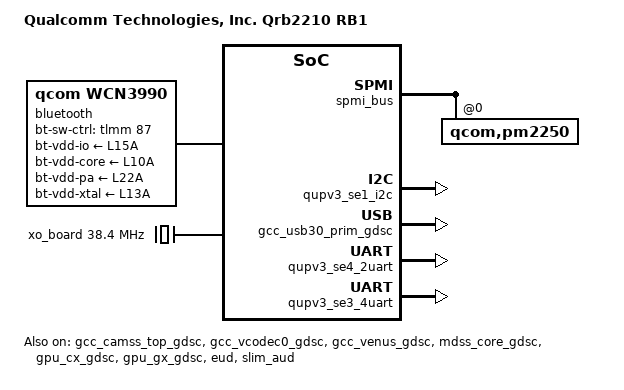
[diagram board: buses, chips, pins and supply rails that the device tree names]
#include <dt-bindings/sound/qcom,gpr.h>
#include <dt-bindings/interconnect/qcom,icc.h>
#include <dt-bindings/interconnect/qcom,scuba.h>
#include <dt-bindings/interrupt-controller/arm-gic.h>
#include <dt-bindings/gpio/gpio.h>
#include <dt-bindings/spmi/spmi.h>
#include <dt-bindings/regulator/qcom,rpmh-regulator-levels.h>
#include <dt-bindings/clock/qcom,gcc-scuba.h>
#include <dt-bindings/clock/qcom,gpucc-scuba.h>
#include <dt-bindings/clock/qcom,dispcc-scuba.h>
#include <dt-bindings/clock/qcom,rpmcc.h>

/ {
	model = "Qualcomm Technologies, Inc. Qrb2210 RB1";
	compatible = "qcom,scuba-idp", "qcom,scuba", "qcom,idp";
	qcom,msm-id = <473 0x0>;
	qcom,board-id = <34 0>;

	#address-cells = <2>;
	#size-cells = <2>;
	interrupt-parent = <&intc>;

	memory { device_type = "memory"; reg = <0 0 0 0>; };

	mem-offline {
		compatible = "qcom,mem-offline";
		offline-sizes = <0x1 0x40000000 0x0 0x40000000>,
				<0x1 0xc0000000 0x0 0x80000000>,
				<0x2 0xc0000000 0x1 0x40000000>;
		granule = <512>;
	};

	aliases {
		serial0 = &qupv3_se4_2uart;
		hsuart0 = &qupv3_se3_4uart;
		sdhc1 = &sdhc_1; /*SDC1 eMMC slot*/
		sdhc2 = &sdhc_2; /* SDC2 SD card slot */
	};

	cpus {
		#address-cells = <2>;
		#size-cells = <0>;

		CPU0: cpu@0 {
			device_type = "cpu";
			compatible = "arm,armv8";
			reg = <0x0 0x0>;
			enable-method = "psci";
			capacity-dmips-mhz = <1024>;
			dynamic-power-coefficient = <100>;
			next-level-cache = <&L2_0>;
			qcom,freq-domain = <&cpufreq_hw 0 4>;
			L2_0: l2-cache {
				compatible = "arm,arch-cache";
				cache-level = <2>;
			};

			L1_I_0: l1-icache {
				compatible = "arm,arch-cache";
			};

			L1_D_0: l1-dcache {
				compatible = "arm,arch-cache";
			};
		};

		CPU1: cpu@1 {
			device_type = "cpu";
			compatible = "arm,armv8";
			reg = <0x0 0x1>;
			enable-method = "psci";
			capacity-dmips-mhz = <1024>;
			dynamic-power-coefficient = <100>;
			next-level-cache = <&L2_0>;
			qcom,freq-domain = <&cpufreq_hw 0 4>;

			L1_I_1: l1-icache {
				compatible = "arm,arch-cache";
			};

			L1_D_1: l1-dcache {
				compatible = "arm,arch-cache";
			};
		};

		CPU2: cpu@2 {
			device_type = "cpu";
			compatible = "arm,armv8";
			reg = <0x0 0x2>;
			enable-method = "psci";
			capacity-dmips-mhz = <1024>;
			dynamic-power-coefficient = <100>;
			next-level-cache = <&L2_0>;
			qcom,freq-domain = <&cpufreq_hw 0 4>;

			L1_I_2: l1-icache {
				compatible = "arm,arch-cache";
			};

			L1_D_2: l1-dcache {
				compatible = "arm,arch-cache";
			};
		};

		CPU3: cpu@3 {
			device_type = "cpu";
			compatible = "arm,armv8";
			reg = <0x0 0x3>;
			enable-method = "psci";
			capacity-dmips-mhz = <1024>;
			dynamic-power-coefficient = <100>;
			next-level-cache = <&L2_0>;
			qcom,freq-domain = <&cpufreq_hw 0 4>;

			L1_I_3: l1-icache {
				compatible = "arm,arch-cache";
			};

			L1_D_3: l1-dcache {
				compatible = "arm,arch-cache";
			};
		};

		cpu-map {
			cluster0 {
				core0 {
					cpu = <&CPU0>;
				};

				core1 {
					cpu = <&CPU1>;
				};

				core2 {
					cpu = <&CPU2>;
				};

				core3 {
					cpu = <&CPU3>;
				};
			};
		};
	};

	psci {
		compatible = "arm,psci-1.0";
		method = "smc";
	};

	firmware: firmware {
		android {
			compatible = "android,firmware";
			vbmeta {
				compatible="android,vbmeta";
				parts = "vbmeta,boot,system,vendor,dtbo,recovery";
			};

			fstab {
				compatible = "android,fstab";
				vendor {
					compatible = "android,vendor";
					dev =
			"/dev/block/platform/soc/4744000.sdhci/by-name/vendor";
					type = "ext4";
					mnt_flags = "ro,barrier=1,discard";
					fsmgr_flags = "wait,slotselect,avb";
					status = "ok";
				};
			};
		};
	};

	reserved-memory {
		#address-cells = <2>;
		#size-cells = <2>;
		ranges;

		hyp_region: hyp_region@45700000 {
			no-map;
			reg = <0x0 0x45700000 0x0 0x600000>;
		};

		xbl_aop_mem: xbl_aop_mem@45e00000 {
			no-map;
			reg = <0x0 0x45e00000 0x0 0x100000>;
		};

		sec_apps_mem: sec_apps_region@45fff000 {
			no-map;
			reg = <0x0 0x45fff000 0x0 0x1000>;
		};

		smem_region: smem@46000000 {
			no-map;
			reg = <0x0 0x46000000 0x0 0x200000>;
		};

		pil_modem_mem: modem_region@4ab00000 {
			no-map;
			reg = <0x0 0x4ab00000 0x0 0x6900000>;
		};

		pil_video_mem: pil_video_region@51400000 {
			no-map;
			reg = <0x0 0x51400000 0x0 0x500000>;
		};

		wlan_msa_mem: wlan_msa_region@51900000 {
			no-map;
			reg = <0x0 0x51900000 0x0 0x100000>;
		};

		pil_adsp_mem: adsp_regions@51a00000 {
			no-map;
			reg = <0x0 0x51a00000 0x0 0x1c00000>;
		};

		pil_ipa_fw_mem: ips_fw_region@53600000 {
			no-map;
			reg = <0x0 0x53600000 0x0 0x10000>;
		};

		pil_ipa_gsi_mem: ipa_gsi_region@53610000 {
			no-map;
			reg = <0x0 0x53610000 0x0 0x5000>;
		};

		pil_gpu_mem: gpu_region@53615000 {
			no-map;
			reg = <0x0 0x53615000 0x0 0x2000>;
		};

		removed_region: removed_region@60000000 {
			no-map;
			reg = <0x0 0x60000000 0x0 0x3900000>;
		};

		adsp_mem: adsp_region {
			compatible = "shared-dma-pool";
			alloc-ranges = <0 0x00000000 0 0xffffffff>;
			reusable;
			alignment = <0 0x400000>;
			size = <0 0x800000>;
		};

		dump_mem: mem_dump_region {
			compatible = "shared-dma-pool";
			alloc-ranges = <0x0 0x00000000 0x0 0xffffffff>;
			reusable;
			size = <0 0x800000>;
		};

		secure_display_memory: secure_display_region {
			compatible = "shared-dma-pool";
			alloc-ranges = <0 0x00000000 0 0xffffffff>;
			reusable;
			alignment = <0 0x400000>;
			size = <0 0x5c00000>;
		};

		cont_splash_memory: cont_splash_region@5c000000 {
			reg = <0x0 0x5c000000 0x0 0x00f00000>;
			label = "cont_splash_region";
		};

		dfps_data_memory: dfps_data_region@5cf00000 {
			reg = <0x0 0x5cf00000 0x0 0x0100000>;
			label = "dfps_data_region";
		};

		disp_rdump_memory: disp_rdump_region@5c000000 {
			reg = <0x0 0x5c000000 0x0 0x00f00000>;
			label = "disp_rdump_region";
		};

		qseecom_mem: qseecom_region {
			compatible = "shared-dma-pool";
			alloc-ranges = <0x0 0x00000000 0x0 0xffffffff>;
			reusable;
			alignment = <0x0 0x400000>;
			size = <0x0 0x1400000>;
		};

		qseecom_ta_mem: qseecom_ta_region {
			compatible = "shared-dma-pool";
			alloc-ranges = <0x0 0x00000000 0x0 0xffffffff>;
			reusable;
			alignment = <0x0 0x400000>;
			size = <0x0 0x1000000>;
		};

		memshare_mem: memshare_region {
			compatible = "shared-dma-pool";
			no-map;
			alloc-ranges = <0x0 0x00000000 0x0 0xffffffff>;
			alignment = <0x0 0x100000>;
			size = <0x0 0x800000>;
		};

		/* global autoconfigured region for contiguous allocations */
		linux,cma {
			compatible = "shared-dma-pool";
			alloc-ranges = <0x0 0x00000000 0x0 0xffffffff>;
			reusable;
			alignment = <0x0 0x400000>;
			size = <0x0 0x2000000>;
			linux,cma-default;
		};
	};

	chosen {
		bootargs = "rcupdate.rcu_expedited=1 rcu_nocbs=0-7";
	};

	soc: soc { };
};

&soc {
	#address-cells = <1>;
	#size-cells = <1>;
	ranges = <0 0 0 0xffffffff>;
	compatible = "simple-bus";

	intc: interrupt-controller@f200000 {
		compatible = "arm,gic-v3";
		#interrupt-cells = <3>;
		interrupt-controller;
		interrupt-parent = <&intc>;
		#redistributor-regions = <1>;
		redistributor-stride = <0x0 0x20000>;
		reg = <0xf200000 0x10000>,     /* GICD */
		      <0xf300000 0x100000>;    /* GICR * 8 */
		interrupts = <1 9 4>;
	};

	wakegic: wake-gic {
		compatible = "qcom,mpm-gic-scuba", "qcom,mpm";
		interrupts = <GIC_SPI 197 IRQ_TYPE_EDGE_RISING>;
		reg = <0x45f01b8 0x1000>,
			<0x0f40000c 0x4>;  /* MSM_APCS_GCC_BASE 4K */
		reg-names = "vmpm", "ipc";
		qcom,num-mpm-irqs = <96>;
		interrupt-controller;
		interrupt-parent = <&intc>;
		#interrupt-cells = <2>;
	};

	bluetooth: bt_wcn3990 {
		compatible = "qcom,wcn3990";
		qcom,bt-sw-ctrl-gpio = <&tlmm 87 0>; /* SW_CTRL */
		qcom,bt-vdd-io-supply =   <&L15A>;  /* IO */
		qcom,bt-vdd-core-supply = <&L10A>; /* RFA */
		qcom,bt-vdd-pa-supply =   <&L22A>; /* CH0 */
		qcom,bt-vdd-xtal-supply = <&L13A>; /* XO */

		qcom,bt-vdd-io-config = <1700000 1900000 1 0>;
		qcom,bt-vdd-core-config = <1304000 1304000 1 0>;
		qcom,bt-vdd-pa-config = <3000000 3312000 1 0>;
		qcom,bt-vdd-xtal-config = <1700000 1900000 1 0>;
	};

	timer {
		compatible = "arm,armv8-timer";
		interrupts = <1 1 0xf08>,
			     <1 2 0xf08>,
			     <1 3 0xf08>,
			     <1 0 0xf08>;
		clock-frequency = <19200000>;
	};


	timer@f120000 {
		#address-cells = <1>;
		#size-cells = <1>;
		ranges;
		compatible = "arm,armv7-timer-mem";
		reg = <0xf120000 0x1000>;
		clock-frequency = <19200000>;

		frame@f121000 {
			frame-number = <0>;
			interrupts = <0 8 0x4>,
				     <0 7 0x4>;
			reg = <0xf121000 0x1000>,
			      <0xf122000 0x1000>;
		};

		frame@f123000 {
			frame-number = <1>;
			interrupts = <0 9 0x4>;
			reg = <0xf123000 0x1000>;
			status = "disabled";
		};

		frame@f124000 {
			frame-number = <2>;
			interrupts = <0 10 0x4>;
			reg = <0xf124000 0x1000>;
			status = "disabled";
		};

		frame@f125000 {
			frame-number = <3>;
			interrupts = <0 11 0x4>;
			reg = <0xf125000 0x1000>;
			status = "disabled";
		};

		frame@f126000 {
			frame-number = <4>;
			interrupts = <0 12 0x4>;
			reg = <0xf126000 0x1000>;
			status = "disabled";
		};

		frame@f127000 {
			frame-number = <5>;
			interrupts = <0 13 0x4>;
			reg = <0xf127000 0x1000>;
			status = "disabled";
		};

		frame@f128000 {
			frame-number = <6>;
			interrupts = <0 14 0x4>;
			reg = <0xf128000 0x1000>;
			status = "disabled";
		};
	};

	qcom,msm-imem@c125000 {
		compatible = "qcom,msm-imem";
		reg = <0xc125000 0x1000>;
		ranges = <0x0 0xc125000 0x1000>;
		#address-cells = <1>;
		#size-cells = <1>;

		mem_dump_table@10 {
			compatible = "qcom,msm-imem-mem_dump_table";
			reg = <0x10 0x8>;
		};

		restart_reason@65c {
			compatible = "qcom,msm-imem-restart_reason";
			reg = <0x65c 0x4>;
		};

		dload_type@1c {
			compatible = "qcom,msm-imem-dload-type";
			reg = <0x1c 0x4>;
		};

		boot_stats@6b0 {
			compatible = "qcom,msm-imem-boot_stats";
			reg = <0x6b0 0x20>;
		};

		kaslr_offset@6d0 {
			compatible = "qcom,msm-imem-kaslr_offset";
			reg = <0x6d0 0xc>;
		};

		pil@94c {
			compatible = "qcom,msm-imem-pil";
			reg = <0x94c 0xc8>;
		};

		diag_dload@c8 {
			compatible = "qcom,msm-imem-diag-dload";
			reg = <0xc8 0xc8>;
		};
	};

	restart@440b000 {
		compatible = "qcom,pshold";
		reg = <0x440b000 0x4>,
		      <0x03d3000 0x4>;
		reg-names = "pshold-base", "tcsr-boot-misc-detect";
		status="disabled";
	};

	qcom,mpm2-sleep-counter@4403000 {
		compatible = "qcom,mpm2-sleep-counter";
		reg = <0x4403000 0x1000>;
		clock-frequency = <32768>;
		status="disabled";
	};

	qcom,msm-rtb {
		compatible = "qcom,msm-rtb";
		qcom,rtb-size = <0x100000>;
		status="disabled";
	};

	qcom,chd_silver {
		compatible = "qcom,core-hang-detect";
		label = "silver";
		qcom,threshold-arr = <0x0f1880b0 0x0f1980b0
				      0x0f1a80b0 0x0f1b80b0>;
		qcom,config-arr = <0x0f1880b8 0x0f1980b8
				   0x0f1a80b8 0x0f1b80b8>;

		status="disabled";
	};

	qcom,rmtfs_sharedmem@0 {
		compatible = "qcom,sharedmem-uio";
		reg = <0x0 0x280000>;
		reg-names = "rmtfs";
		qcom,client-id = <0x00000001>;
		qcom,vm-nav-path;
	};

	thermal_zones: thermal-zones { };

	sdhc_1: sdhci@4744000 {
		compatible = "qcom,sdhci-msm-v5";
		reg = <0x04744000 0x1000>, <0x04745000 0x1000>;
		reg-names = "hc_mem", "cqhci_mem";

		iommus = <&apps_smmu 0xC0 0x0>;
		qcom,iommu-dma = "bypass";

		interrupts = <GIC_SPI 348 IRQ_TYPE_LEVEL_HIGH>,
			<GIC_SPI 352 IRQ_TYPE_LEVEL_HIGH>;
		interrupt-names = "hc_irq", "pwr_irq";

		clocks = <&gcc GCC_SDCC1_APPS_CLK>,
			<&gcc GCC_SDCC1_AHB_CLK>,
			<&gcc GCC_SDCC1_ICE_CORE_CLK>;
		clock-names = "core", "iface", "ice_core";

		qcom,ice-clk-rates = <300000000 100000000>;

		interconnects = <&system_noc MASTER_SDCC_1 &bimc SLAVE_EBI_CH0>,
			<&bimc MASTER_AMPSS_M0 &config_noc SLAVE_SDCC_1>;
		interconnect-names = "sdhc-ddr","cpu-sdhc";
		qcom,msm-bus,name = "sdhc1";
		qcom,msm-bus,num-cases = <9>;
		qcom,msm-bus,num-paths = <2>;
		qcom,msm-bus,vectors-KBps =
			/* No vote */
			<78 512 0 0>, <1 606 0 0>,
			/* 400 KB/s*/
			<78 512 1046 1600>,
			<1 606 1600 1600>,
			/* 20 MB/s */
			<78 512 20480 80000>,
			<1 606 80000 80000>,
			/* 25 MB/s */
			<78 512 25600 250000>,
			<1 606 50000 133320>,
			/* 50 MB/s */
			<78 512 51200 250000>,
			<1 606 65000 133320>,
			/* 100 MB/s */
			<78 512 102400 250000>,
			<1 606 65000 133320>,
			/* 200 MB/s */
			<78 512 204800 800000>,
			<1 606 200000 300000>,
			/* 400 MB/s */
			<78 512 204800 800000>,
			<1 606 200000 300000>,
			/* Max. bandwidth */
			<78 512 1338562 4096000>,
			<1 606 1338562 4096000>;
		qcom,bus-bw-vectors-bps = <0 400000 20000000 25000000 50000000
			100750000 200000000 400000000 4294967295>;

		/* DLL HSR settings. Refer go/hsr - <Target> DLL settings */
		qcom,dll-hsr-list = <0x000f642c 0x0 0x0 0x00010800 0x80040868>;

		mmc-ddr-1_8v;
		mmc-hs200-1_8v;
		mmc-hs400-1_8v;
		mmc-hs400-enhanced-strobe;

		bus-width = <8>;
		non-removable;
		supports-cqe;

		no-sd;
		no-sdio;
		max-frequency = <192000000>;

		qcom,devfreq,freq-table = <50000000 200000000>;
		qcom,scaling-lower-bus-speed-mode = "DDR52";

		status = "disabled";

		qos0 {
			mask = <0x0f>;
			vote = <43>;
		};
	};

	sdhc_2: sdhci@4784000 {
		compatible = "qcom,sdhci-msm-v5";
		reg = <0x4784000 0x1000>;
		reg-names = "hc_mem";

		interrupts = <GIC_SPI 350 IRQ_TYPE_LEVEL_HIGH>,
			<GIC_SPI 353 IRQ_TYPE_LEVEL_HIGH>;
		interrupt-names = "hc_irq", "pwr_irq";

		clocks = <&gcc GCC_SDCC2_AHB_CLK>,
			<&gcc GCC_SDCC2_APPS_CLK>;
		clock-names = "core", "iface";

		interconnects = <&system_noc MASTER_SDCC_2 &bimc SLAVE_EBI_CH0>,
			<&bimc MASTER_AMPSS_M0 &config_noc SLAVE_SDCC_2>;
		interconnect-names = "sdhc-ddr","cpu-sdhc";
		qcom,msm-bus,name = "sdhc2";
		qcom,msm-bus,num-cases = <8>;
		qcom,msm-bus,num-paths = <2>;
		qcom,msm-bus,vectors-KBps =
			/* No vote */
			<81 512 0 0>, <1 608 0 0>,
			/* 400 KB/s*/
			<81 512 1046 3200>,
			<1 608 1600 1600>,
			/* 20 MB/s */
			<81 512 52286 250000>,
			<1 608 80000 133320>,
			/* 25 MB/s */
			<81 512 65360 250000>,
			<1 608 100000 133320>,
			/* 50 MB/s */
			<81 512 130718 250000>,
			<1 608 133320 133320>,
			/* 100 MB/s */
			<81 512 261438 250000>,
			<1 608 150000 133320>,
			/* 200 MB/s */
			<81 512 261438 800000>,
			<1 608 300000 300000>,
			/* Max. bandwidth */
			<81 512 1338562 4096000>,
			<1 608 1338562 4096000>;
		qcom,bus-bw-vectors-bps = <0 400000 20000000 25000000 50000000
			100750000 200000000 4294967295>;

		/* DLL HSR settings. Refer go/hsr - <Target> DLL settings */
		qcom,dll-hsr-list = <0x0007642c 0x0 0x0 0x00010800 0x80040868>;

		bus-width = <4>;

		iommus = <&apps_smmu 0xA0 0x0>;
		qcom,iommu-dma = "bypass";

		no-mmc;
		no-sdio;
		max-frequency = <202000000>;

		qcom,devfreq,freq-table = <50000000 202000000>;

		status = "disabled";

		qos0 {
			mask = <0x0f>;
			vote = <43>;
		};
	};

	qfprom: qfprom@1b40000 {
		compatible = "qcom,qfprom";
		reg = <0x1b40000 0x7000>;
		#address-cells = <1>;
		#size-cells = <1>;
		read-only;
		ranges;
		status="disabled";
		feat_conf5: feat_conf5@6018 {
			reg = <0x6018 0x4>;
		};

		adsp_variant: adsp_variant@6011 {
			reg = <0x6011 0x1>;
			bits = <3 1>;
		};

	};

	eud: qcom,msm-eud@1610000 {
		compatible = "qcom,msm-eud";
		interrupt-names = "eud_irq";
		interrupts = <GIC_SPI 189 IRQ_TYPE_LEVEL_HIGH>;
		reg = <0x1610000 0x2000>,
		      <0x1612000 0x1000>,
		      <0x3E5018 0x4>;
		reg-names = "eud_base", "eud_mode_mgr2",
				"eud_tcsr_check_reg";
		qcom,secure-eud-en;
		qcom,eud-tcsr-check-enable;
		qcom,eud-clock-vote-req;
		clocks = <&gcc GCC_AHB2PHY_USB_CLK>;
		clock-names = "eud_ahb2phy_clk";
		status = "ok";
	};

	wdog: qcom,wdt@f017000 {
		compatible = "qcom,msm-watchdog";
		reg = <0xf017000 0x1000>;
		reg-names = "wdt-base";
		interrupts = <GIC_SPI 3 IRQ_TYPE_EDGE_RISING>,
				<GIC_SPI 4 IRQ_TYPE_LEVEL_HIGH>;
		qcom,bark-time = <11000>;
		qcom,pet-time = <9360>;
		qcom,ipi-ping;
		qcom,wakeup-enable;
	};

	dcc: dcc_v2@1be2000 {
		compatible = "qcom,dcc-v2";
		reg = <0x1be2000 0x1000>,
			<0x1bee000 0x2000>;
		reg-names = "dcc-base", "dcc-ram-base";
		dcc-ram-offset = <0x2000>;
		status = "disabled";
	};

	rpm_bus: qcom,rpm-smd {
		compatible = "qcom,rpm-smd";
		rpm-channel-name = "rpm_requests";
		interrupts = <GIC_SPI 194 IRQ_TYPE_EDGE_RISING>;
		rpm-channel-type = <15>; /* SMD_APPS_RPM */
	};

	qcom,sps {
		compatible = "qcom,msm-sps-4k";
		qcom,pipe-attr-ee;
	};

	mem_dump {
		compatible = "qcom,mem-dump";
		memory-region = <&dump_mem>;

		c0_context {
			qcom,dump-size = <0x800>;
			qcom,dump-id = <0x0>;
		};

		c1_context {
			qcom,dump-size = <0x800>;
			qcom,dump-id = <0x1>;
		};

		c2_context {
			qcom,dump-size = <0x800>;
			qcom,dump-id = <0x2>;
		};

		c3_context {
			qcom,dump-size = <0x800>;
			qcom,dump-id = <0x3>;
		};

		l1_icache0 {
			qcom,dump-size = <0x9040>;
			qcom,dump-id = <0x60>;
		};

		l1_icache1 {
			qcom,dump-size = <0x9040>;
			qcom,dump-id = <0x61>;
		};

		l1_icache2 {
			qcom,dump-size = <0x9040>;
			qcom,dump-id = <0x62>;
		};

		l1_icache3 {
			qcom,dump-size = <0x9040>;
			qcom,dump-id = <0x63>;
		};

		l1_dcache0 {
			qcom,dump-size = <0x9040>;
			qcom,dump-id = <0x80>;
		};

		l1_dcache1 {
			qcom,dump-size = <0x9040>;
			qcom,dump-id = <0x81>;
		};

		l1_dcache2 {
			qcom,dump-size = <0x9040>;
			qcom,dump-id = <0x82>;
		};

		l1_dcache3 {
			qcom,dump-size = <0x9040>;
			qcom,dump-id = <0x83>;
		};

		l2_tlb0 {
			qcom,dump-size = <0x2000>;
			qcom,dump-id = <0x120>;
		};

		l2_tlb1 {
			qcom,dump-size = <0x2000>;
			qcom,dump-id = <0x121>;
		};

		l2_tlb2 {
			qcom,dump-size = <0x2000>;
			qcom,dump-id = <0x122>;
		};

		l2_tlb3 {
			qcom,dump-size = <0x2000>;
			qcom,dump-id = <0x123>;
		};
	};

	clocks {
		xo_board: xo-board {
			compatible = "fixed-clock";
			clock-frequency = <38400000>;
			clock-output-names = "xo_board";
			#clock-cells = <0>;
		};

		sleep_clk: sleep-clk {
			compatible = "fixed-clock";
			clock-frequency = <32764>;
			clock-output-names = "chip_sleep_clk";
			#clock-cells = <0>;
		};
	};

	rpmcc: qcom,rpmcc {
		compatible = "qcom,rpmcc-scuba";
		#clock-cells = <1>;
	};

	gcc: qcom,gcc@1400000 {
		compatible = "qcom,scuba-gcc", "syscon";
		reg = <0x1400000 0x1f0000>;
		reg-names = "cc_base";
		vdd_cx-supply = <&VDD_CX_LEVEL>;
		vdd_mx-supply = <&VDD_MX_LEVEL>;
		clocks = <&rpmcc RPM_SMD_XO_CLK_SRC>,
			 <&rpmcc RPM_SMD_XO_A_CLK_SRC>,
			 <&sleep_clk>;
		clock-names = "bi_tcxo", "bi_tcxo_ao", "sleep_clk";
		#clock-cells = <1>;
		#reset-cells = <1>;
	};

	dispcc: qcom,dispcc@5f00000 {
		compatible = "qcom,scuba-dispcc", "syscon";
		reg = <0x5f00000 0x20000>;
		reg-names = "cc_base";
		clock-names = "cfg_ahb_clk";
		clocks = <&gcc GCC_DISP_AHB_CLK>;
		vdd_cx-supply = <&VDD_CX_LEVEL>;
		#clock-cells = <1>;
		#reset-cells = <1>;
	};

	gpucc: qcom,gpucc@5990000 {
		compatible = "qcom,scuba-gpucc", "syscon";
		reg = <0x5990000 0x9000>;
		reg-names = "cc_base";
		vdd_cx-supply = <&VDD_CX_LEVEL>;
		/*qcom,gpu_cc_gx_gfx3d_clk_src-opp-handle = <&msm_gpu>;*/
		#clock-cells = <1>;
		#reset-cells = <1>;
	};

	mccc_debug: syscon@447d200 {
		compatible = "syscon";
		reg = <0x447d200 0x100>;
	};

	cpucc_debug: syscon@f11101c {
		compatible = "syscon";
		reg = <0xf11101c 0x4>;
	};

	debugcc: qcom,cc-debug {
		compatible = "qcom,scuba-debugcc";
		status = "disabled";
		qcom,gcc = <&gcc>;
		qcom,dispcc = <&dispcc>;
		qcom,gpucc = <&gpucc>;
		qcom,mccc = <&mccc_debug>;
		qcom,cpucc = <&cpucc_debug>;
		clock-names = "xo_clk_src";
		clocks = <&rpmcc RPM_SMD_XO_CLK_SRC>;
		#clock-cells = <1>;
	};

	cpufreq_hw: qcom,cpufreq-hw {
		compatible = "qcom,cpufreq-hw";
		reg = <0xf521000 0x1400>;
		reg-names = "freq-domain0";
		clocks = <&rpmcc RPM_SMD_XO_CLK_SRC>, <&gcc GPLL0>;
		clock-names = "xo", "alternate";
		qcom,no-accumulative-counter;
		qcom,max-lut-entries = <12>;
		#freq-domain-cells = <2>;
	};

	spmi_bus: qcom,spmi@1c40000 {
		compatible = "qcom,spmi-pmic-arb";
		reg = <0x1c40000 0x1100>,
			<0x1e00000 0x2000000>,
			<0x3e00000 0x100000>,
			<0x3f00000 0xa0000>,
			<0x1c0a000 0x26000>;
		reg-names = "core", "chnls", "obsrvr", "intr", "cnfg";
		interrupt-names = "periph_irq";
		interrupts = <GIC_SPI 183 IRQ_TYPE_LEVEL_HIGH>;
		qcom,ee = <0>;
		qcom,channel = <0>;
		#address-cells = <1>;
		#size-cells = <1>;
		interrupt-controller;
		#interrupt-cells = <4>;
		cell-index = <0>;
	};

	tcsr_mutex_block: syscon@00340000 {
		compatible = "syscon";
		reg = <0x340000 0x20000>;
	};

	tcsr_mutex: hwlock {
		compatible = "qcom,tcsr-mutex";
		syscon = <&tcsr_mutex_block 0 0x1000>;
		#hwlock-cells = <1>;
	};

	smem: qcom,smem {
		compatible = "qcom,smem";
		memory-region = <&smem_region>;
		hwlocks = <&tcsr_mutex 3>;
	};

	rpm_msg_ram: memory@045f0000 {
			compatible = "qcom,rpm-msg-ram";
			reg = <0x45f0000 0x7000>;
	};

	apcs_glb: mailbox@0f111000 {
		compatible = "qcom,scuba-apcs-hmss-global";
		reg = <0xF111000 0x1000>;

		#mbox-cells = <1>;
	};

	qcom,msm-adsprpc-mem {
		compatible = "qcom,msm-adsprpc-mem-region";
		memory-region = <&adsp_mem>;
		restrict-access;
	};

	qcom,msm_fastrpc {
		compatible = "qcom,msm-fastrpc-compute";
		qcom,rpc-latency-us = <611>;
		qcom,adsp-remoteheap-vmid = <22 37>;
		qcom,fastrpc-adsp-audio-pdr;
		qcom,fastrpc-adsp-sensors-pdr;

		qcom,msm_fastrpc_compute_cb1 {
			compatible = "qcom,msm-fastrpc-compute-cb";
			label = "adsprpc-smd";
			iommus = <&apps_smmu 0x01C3 0x0>;
			qcom,iommu-dma-addr-pool = <0x80000000 0x78000000>;
			qcom,iommu-faults = "stall-disable";
		};

		qcom,msm_fastrpc_compute_cb2 {
			compatible = "qcom,msm-fastrpc-compute-cb";
			label = "adsprpc-smd";
			iommus = <&apps_smmu 0x01C4 0x0>;
			qcom,iommu-dma-addr-pool = <0x80000000 0x78000000>;
			qcom,iommu-faults = "stall-disable";
		};

		qcom,msm_fastrpc_compute_cb3 {
			compatible = "qcom,msm-fastrpc-compute-cb";
			label = "adsprpc-smd";
			iommus = <&apps_smmu 0x01C5 0x0>;
			qcom,iommu-dma-addr-pool = <0x80000000 0x78000000>;
			qcom,iommu-faults = "stall-disable";
		};

		qcom,msm_fastrpc_compute_cb4 {
			compatible = "qcom,msm-fastrpc-compute-cb";
			label = "adsprpc-smd";
			iommus = <&apps_smmu 0x01C6 0x0>;
			qcom,iommu-dma-addr-pool = <0x80000000 0x78000000>;
			qcom,iommu-faults = "stall-disable";
		};

		qcom,msm_fastrpc_compute_cb5 {
			compatible = "qcom,msm-fastrpc-compute-cb";
			label = "adsprpc-smd";
			iommus = <&apps_smmu 0x01C7 0x0>;
			qcom,iommu-dma-addr-pool = <0x80000000 0x78000000>;
			qcom,iommu-faults = "stall-disable";
		};

	};

	rpm-glink {
		compatible = "qcom,glink-rpm";
		interrupts = <GIC_SPI 194 IRQ_TYPE_EDGE_RISING>;
		qcom,rpm-msg-ram = <&rpm_msg_ram>;
		mboxes = <&apcs_glb 0>;

		qcom,rpm_glink_ssr {
			qcom,glink-channels = "glink_ssr";
			qcom,notify-edges = <&glink_modem>,
					    <&glink_adsp>;
		};

	};

	pil_scm_pas {
		compatible = "qcom,pil-tz-scm-pas";
		interconnects = <&clk_virt MASTER_CRYPTO_CORE0 &bimc SLAVE_EBI_CH0>;
	};

	qcom,lpass@ab00000 {
		compatible = "qcom,pil-tz-generic";
		reg = <0xab00000 0x00100>;

		clocks = <&rpmcc RPM_SMD_XO_CLK_SRC>;
		clock-names = "xo";
		qcom,proxy-clock-names = "xo";

		vdd_lpi_cx-supply = <&VDD_LPI_CX_LEVEL>;
		qcom,vdd_lpi_cx-uV-uA = <RPMH_REGULATOR_LEVEL_TURBO 0>;
		vdd_lpi_mx-supply = <&VDD_LPI_MX_LEVEL>;
		qcom,vdd_lpi_mx-uV-uA = <RPMH_REGULATOR_LEVEL_TURBO 0>;
		qcom,proxy-reg-names = "vdd_lpi_cx", "vdd_lpi_mx";

		qcom,firmware-name = "adsp";
		memory-region = <&pil_adsp_mem>;
		qcom,proxy-timeout-ms = <10000>;
		qcom,sysmon-id = <1>;
		qcom,minidump-id = <5>;
		qcom,ssctl-instance-id = <0x14>;
		qcom,pas-id = <1>;
		qcom,smem-id = <423>;
		qcom,complete-ramdump;
		qcom,minidump-as-elf32;

		/* Inputs from lpass */
		interrupts-extended = <&intc 0 282 IRQ_TYPE_LEVEL_HIGH>,
			<&adsp_smp2p_in 0 0>,
			<&adsp_smp2p_in 2 0>,
			<&adsp_smp2p_in 1 0>,
			<&adsp_smp2p_in 3 0>;

		interrupt-names = "qcom,wdog",
			"qcom,err-fatal",
			"qcom,proxy-unvote",
			"qcom,err-ready",
			"qcom,stop-ack";

		/* Outputs to lpass */
		qcom,smem-states = <&adsp_smp2p_out 0>;
		qcom,smem-state-names = "qcom,force-stop";
	};

	qcom,ipa_fws {
		compatible = "qcom,pil-tz-generic";
		qcom,pas-id = <0xf>;
		qcom,firmware-name = "ipa_fws";
		qcom,pil-force-shutdown;
		memory-region = <&pil_ipa_fw_mem>;
	};

	pil_modem: qcom,mss@6080000 {
		compatible = "qcom,pil-tz-generic";
		reg = <0x6080000 0x100>;

		clocks =  <&rpmcc RPM_SMD_XO_CLK_SRC>;
		clock-names = "xo";
		qcom,proxy-clock-names = "xo";

		vdd_cx-supply = <&VDD_CX_LEVEL>;
		qcom,vdd_cx-uV-uA = <RPMH_REGULATOR_LEVEL_TURBO 100000>;
		qcom,proxy-reg-names = "vdd_cx";

		qcom,firmware-name = "modem";
		memory-region = <&pil_modem_mem>;
		qcom,proxy-timeout-ms = <10000>;
		qcom,sysmon-id = <0>;
		qcom,ssctl-instance-id = <0x12>;
		qcom,pas-id = <4>;
		qcom,smem-id = <421>;
		qcom,minidump-id = <3>;
		qcom,aux-minidump-ids = <4>;
		qcom,complete-ramdump;
		qcom,sequential-fw-load;

		/* Inputs from mss */
		interrupts-extended = <&intc 0 307 1>,
			<&modem_smp2p_in 0 0>,
			<&modem_smp2p_in 2 0>,
			<&modem_smp2p_in 1 0>,
			<&modem_smp2p_in 3 0>,
			<&modem_smp2p_in 7 0>;

		interrupt-names = "qcom,wdog",
			"qcom,err-fatal",
			"qcom,proxy-unvote",
			"qcom,err-ready",
			"qcom,stop-ack",
			"qcom,shutdown-ack";

		/* Outputs to mss */
		qcom,smem-states = <&modem_smp2p_out 0>;
		qcom,smem-state-names = "qcom,force-stop";
	};

	qcom_scm: qcomscm {
		compatible = "qcom,scm";
	};

	qcom,glink {
		compatible = "qcom,glink";
		#address-cells = <1>;
		#size-cells = <1>;
		ranges;

		glink_modem: modem {
			qcom,remote-pid = <1>;
			transport = "smem";
			mboxes = <&apcs_glb 12>;
			mbox-names = "mpss_smem";
			interrupts = <GIC_SPI 68 IRQ_TYPE_EDGE_RISING>;

			label = "modem";
			qcom,glink-label = "mpss";

			qcom,modem_qrtr {
				qcom,glink-channels = "IPCRTR";
				qcom,low-latency;
				qcom,intents = <0x800  5
						0x2000 3
						0x4400 2>;
			};

			qcom,modem_ds {
				qcom,glink-channels = "DS";
				qcom,intents = <0x4000 2>;
			};

			qcom,modem_glink_ssr {
				qcom,glink-channels = "glink_ssr";
				qcom,notify-edges = <&glink_adsp>;
			};
		};

		glink_adsp: adsp {
			qcom,remote-pid = <2>;
			transport = "smem";
			mboxes = <&apcs_glb 8>;
			mbox-names = "adsp_smem";
			interrupts = <GIC_SPI 277 IRQ_TYPE_EDGE_RISING>;

			label = "adsp";
			qcom,glink-label = "lpass";

			qcom,adsp_qrtr {
				qcom,glink-channels = "IPCRTR";
				qcom,low-latency;
				qcom,intents = <0x800  5
						0x2000 3
						0x4400 2>;
			};

			audio_gpr: qcom,gpr {
				compatible = "qcom,gpr";
				qcom,glink-channels = "adsp_apps";
				qcom,intents = <0x200 20>;
				reg = <GPR_DOMAIN_ADSP>;
				spf_core {
					compatible = "qcom,spf_core";
					reg = <GPR_SVC_ADSP_CORE>;
				};

				audio-pkt {
					compatible = "qcom,audio-pkt";
					qcom,audiopkt-ch-name = "apr_audio_svc";
					reg = <GPR_SVC_MAX>;
				};

				audio_prm: q6prm {
					compatible = "qcom,audio_prm";
					reg = <GPR_SVC_ASM>;
				};
			};

			qcom,adsp_glink_ssr {
				qcom,glink-channels = "glink_ssr";
				qcom,notify-edges = <&glink_modem>;
			};
		};
	};

	qcom,glinkpkt {
		compatible = "qcom,glinkpkt";

		qcom,glinkpkt-at-mdm0 {
			qcom,glinkpkt-edge = "mpss";
			qcom,glinkpkt-ch-name = "DS";
			qcom,glinkpkt-dev-name = "at_mdm0";
		};

		qcom,glinkpkt-apr-apps2 {
			qcom,glinkpkt-edge = "adsp";
			qcom,glinkpkt-ch-name = "apr_apps2";
			qcom,glinkpkt-dev-name = "apr_apps2";
		};

		qcom,glinkpkt-data40-cntl {
			qcom,glinkpkt-edge = "mpss";
			qcom,glinkpkt-ch-name = "DATA40_CNTL";
			qcom,glinkpkt-dev-name = "smdcntl8";
		};

		qcom,glinkpkt-data1 {
			qcom,glinkpkt-edge = "mpss";
			qcom,glinkpkt-ch-name = "DATA1";
			qcom,glinkpkt-dev-name = "smd7";
		};

		qcom,glinkpkt-data4 {
			qcom,glinkpkt-edge = "mpss";
			qcom,glinkpkt-ch-name = "DATA4";
			qcom,glinkpkt-dev-name = "smd8";
		};

		qcom,glinkpkt-data11 {
			qcom,glinkpkt-edge = "mpss";
			qcom,glinkpkt-ch-name = "DATA11";
			qcom,glinkpkt-dev-name = "smd11";
		};
	};

	qcom,smp2p-modem {
		compatible = "qcom,smp2p";
		qcom,smem = <435>, <428>;
		interrupts = <GIC_SPI 70 IRQ_TYPE_EDGE_RISING>;
		mboxes = <&apcs_glb 14>;
		qcom,local-pid = <0>;
		qcom,remote-pid = <1>;

		modem_smp2p_out: master-kernel {
			qcom,entry-name = "master-kernel";
			#qcom,smem-state-cells = <1>;
		};

		modem_smp2p_in: slave-kernel {
			qcom,entry-name = "slave-kernel";
			interrupt-controller;
			#interrupt-cells = <2>;
		};

		smp2p_wlan_1_in: qcom,smp2p-wlan-1-in {
			qcom,entry-name = "wlan";
			interrupt-controller;
			#interrupt-cells = <2>;
		};
	};

	qcom,smp2p-adsp {
		compatible = "qcom,smp2p";
		qcom,smem = <443>, <429>;
		interrupts = <GIC_SPI 279 IRQ_TYPE_EDGE_RISING>;
		mboxes = <&apcs_glb 10>;
		qcom,local-pid = <0>;
		qcom,remote-pid = <2>;

		adsp_smp2p_out: master-kernel {
			qcom,entry-name = "master-kernel";
			#qcom,smem-state-cells = <1>;
		};

		adsp_smp2p_in: slave-kernel {
			qcom,entry-name = "slave-kernel";
			interrupt-controller;
			#interrupt-cells = <2>;
		};
	};

	slim_aud: slim@a5c0000 {
		cell-index = <1>;
		compatible = "qcom,slim-ngd";
		reg = <0xa5c0000 0x2c000>,
			<0xa584000 0x20000>, <0xa66e000 0x2000>;
		reg-names = "slimbus_physical",
			"slimbus_bam_physical","slimbus_lpass_mem";
		interrupts = <GIC_SPI 283 IRQ_TYPE_LEVEL_HIGH>,
				<GIC_SPI 284 IRQ_TYPE_LEVEL_HIGH>;
		interrupt-names = "slimbus_irq", "slimbus_bam_irq";
		qcom,apps-ch-pipes = <0x0>;
		qcom,ea-pc = <0x360>;
		status = "ok";
	};

	icnss: qcom,icnss@C800000 {
		compatible = "qcom,icnss";
		reg = <0xC800000 0x800000>,
		      <0xb0000000 0x10000>;
		reg-names = "membase", "smmu_iova_ipa";
		iommus = <&apps_smmu 0x1A0 0x1>;
		interrupts = <GIC_SPI 358 IRQ_TYPE_LEVEL_HIGH /* CE0 */ >,
			     <GIC_SPI 359 IRQ_TYPE_LEVEL_HIGH /* CE1 */ >,
			     <GIC_SPI 360 IRQ_TYPE_LEVEL_HIGH /* CE2 */ >,
			     <GIC_SPI 361 IRQ_TYPE_LEVEL_HIGH /* CE3 */ >,
			     <GIC_SPI 362 IRQ_TYPE_LEVEL_HIGH /* CE4 */ >,
			     <GIC_SPI 363 IRQ_TYPE_LEVEL_HIGH /* CE5 */ >,
			     <GIC_SPI 364 IRQ_TYPE_LEVEL_HIGH /* CE6 */ >,
			     <GIC_SPI 365 IRQ_TYPE_LEVEL_HIGH /* CE7 */ >,
			     <GIC_SPI 366 IRQ_TYPE_LEVEL_HIGH /* CE8 */ >,
			     <GIC_SPI 367 IRQ_TYPE_LEVEL_HIGH /* CE9 */ >,
			     <GIC_SPI 368 IRQ_TYPE_LEVEL_HIGH /* CE10 */ >,
			     <GIC_SPI 369 IRQ_TYPE_LEVEL_HIGH /* CE11 */ >;
		qcom,iommu-dma = "fastmap";
		qcom,iommu-faults = "stall-disable", "HUPCF", "non-fatal";
		qcom,wlan-msa-fixed-region = <&wlan_msa_mem>;
		qcom,iommu-dma-addr-pool = <0xa0000000 0x10000000>;
		vdd-cx-mx-supply = <&L7A>;
		vdd-1.8-xo-supply = <&L13A>;
		vdd-1.3-rfa-supply = <&L10A>;
		vdd-3.3-ch0-supply = <&L22A>;
		qcom,vdd-cx-mx-config = <640000 640000 0 0 1>;
		qcom,vdd-3.3-ch0-config = <3000000 3312000 0 0 0>;
		qcom,smp2p_map_wlan_1_in {
			interrupts-extended = <&smp2p_wlan_1_in 0 0>,
					      <&smp2p_wlan_1_in 1 0>;
			interrupt-names = "qcom,smp2p-force-fatal-error",
					  "qcom,smp2p-early-crash-ind";
		};
	};

	clk_virt: interconnect {
		compatible = "qcom,scuba-clk_virt";
		#interconnect-cells = <1>;
	};

	mmnrt_virt: interconnect@0 {
		compatible = "qcom,scuba-mmnrt_virt";
		#interconnect-cells = <1>;
	};

	mmrt_virt: interconnect@1 {
		compatible = "qcom,scuba-mmrt_virt";
		#interconnect-cells = <1>;
	};

	system_noc: interconnect@1880000 {
		reg = <0x01880000 0x5e080>;
		compatible = "qcom,scuba-system_noc";
		#interconnect-cells = <1>;
	};

	config_noc: interconnect@1900000 {
		reg = <0x01900000 0x8200>;
		compatible = "qcom,scuba-config_noc";
		#interconnect-cells = <1>;
	};

	bimc: interconnect@4480000 {
		reg = <0x04480000 0x80000>;
		compatible = "qcom,scuba-bimc";
		#interconnect-cells = <1>;
	};

	qcom,memshare {
		compatible = "qcom,memshare";

		qcom,client_1 {
			compatible = "qcom,memshare-peripheral";
			qcom,peripheral-size = <0x0>;
			qcom,client-id = <0>;
			qcom,allocate-boot-time;
			label = "modem";
		};

		qcom,client_2 {
			compatible = "qcom,memshare-peripheral";
			qcom,peripheral-size = <0x0>;
			qcom,client-id = <2>;
			label = "modem";
		};

		qcom,client_3 {
			compatible = "qcom,memshare-peripheral";
			qcom,peripheral-size = <0x500000>;
			memory-region = <&memshare_mem>;
			qcom,client-id = <1>;
			qcom,allocate-on-request;
			label = "modem";
		};
	};


	qcom-secure-buffer {
		compatible = "qcom,secure-buffer";
	};

};

#include "pm2250.dtsi"
#include "pm2250-rpm-regulator.dtsi"
#include "qrb2210-rb1-regulator.dtsi"
#include "qrb2210-rb1-pinctrl.dtsi"
#include "qrb2210-rb1-ion.dtsi"
#include "msm-arm-smmu-qrb2210-rb1.dtsi"
#include "qrb2210-rb1-qupv3.dtsi"
#include "qrb2210-rb1-gdsc.dtsi"
#include "qrb2210-rb1-usb.dtsi"
#include "qrb2210-rb1-coresight.dtsi"

&qupv3_se1_i2c {
	#address-cells = <1>;
	#size-cells = <0>;
	status = "ok";

	#include "pm8008.dtsi"
};

&pm8008_8 {
	interrupt-parent = <&tlmm>;
	interrupts = <25 IRQ_TYPE_EDGE_RISING>;

	pinctrl-names = "default";
	pinctrl-0 = <&pm8008_active &pm8008_interrupt>;
};

&pm8008_regulators {
	vdd_l1_l2-supply = <&S3A>;
};

&gcc_camss_top_gdsc {
	status = "ok";
};

&gcc_usb30_prim_gdsc {
	status = "ok";
};

&gcc_vcodec0_gdsc {
	qcom,support-hw-trigger;
	status = "ok";
};

&gcc_venus_gdsc {
	status = "ok";
};

&hlos1_vote_mm_snoc_mmu_tbu_rt_gdsc {
	status = "ok";
};

&hlos1_vote_mm_snoc_mmu_tbu_nrt_gdsc {
	status = "ok";
};

&hlos1_vote_turing_mmu_tbu1_gdsc {
	status = "ok";
};

&hlos1_vote_turing_mmu_tbu0_gdsc {
	status = "ok";
};

&mdss_core_gdsc {
	qcom,support-hw-trigger;
	status = "ok";
};

&gpu_cx_gdsc {
	status = "ok";
};

&gpu_gx_gdsc {
	status = "ok";
};

&pm2250_vadc {
	#address-cells = <1>;
	#size-cells = <0>;
	pinctrl-names = "default";
	pinctrl-0 = <&conn_therm_default &skin_therm_default>;

	xo_therm {
		reg = <ADC5_XO_THERM_100K_PU>;
		label = "xo_therm";
		qcom,ratiometric;
		qcom,hw-settle-time = <200>;
		qcom,pre-scaling = <1 1>;
	};

	pa_therm {
		reg = <ADC5_AMUX_THM1_100K_PU>;
		label = "pa_therm";
		qcom,ratiometric;
		qcom,hw-settle-time = <200>;
		qcom,pre-scaling = <1 1>;
	};

	quiet_therm {
		reg = <ADC5_AMUX_THM2_100K_PU>;
		label = "quiet_therm";
		qcom,ratiometric;
		qcom,hw-settle-time = <200>;
		qcom,pre-scaling = <1 1>;
	};

	msm_therm {
		reg = <ADC5_AMUX_THM3_100K_PU>;
		label = "msm_therm";
		qcom,ratiometric;
		qcom,hw-settle-time = <200>;
		qcom,pre-scaling = <1 1>;
	};

	skin_therm {
		reg = <ADC5_GPIO3_100K_PU>;
		label = "skin_therm";
		qcom,ratiometric;
		qcom,hw-settle-time = <200>;
		qcom,pre-scaling = <1 1>;
	};

	conn_therm {
		reg = <ADC5_GPIO4_100K_PU>;
		label = "conn_therm";
		qcom,ratiometric;
		qcom,hw-settle-time = <200>;
		qcom,pre-scaling = <1 1>;
	};
};

&pm2250_gpios {
	skin_therm {
		skin_therm_default: skin_therm_default {
			pins = "gpio5";
			bias-high-impedance;
		};
	};

	conn_therm {
		conn_therm_default: conn_therm_default {
			pins = "gpio6";
			bias-high-impedance;
		};
	};
};

&spmi_bus {
	qcom,pm2250@0 {
		pm2250_adc_tm_iio: adc_tm@3400 {
			compatible = "qcom,adc-tm5-iio";
			reg = <0x3400 0x100>;
			#thermal-sensor-cells = <1>;
			#address-cells = <1>;
			#size-cells = <0>;
			io-channels = <&pm2250_vadc ADC5_XO_THERM_100K_PU>,
					<&pm2250_vadc ADC5_AMUX_THM1_100K_PU>,
					<&pm2250_vadc ADC5_AMUX_THM2_100K_PU>,
					<&pm2250_vadc ADC5_AMUX_THM3_100K_PU>,
					<&pm2250_vadc ADC5_GPIO3_100K_PU>,
					<&pm2250_vadc ADC5_GPIO4_100K_PU>,
					<&pm2250_vadc ADC5_SBUx>;

			xo_therm {
				reg = <ADC5_XO_THERM_100K_PU>;
				qcom,ratiometric;
				qcom,hw-settle-time = <200>;
			};

			pa_therm {
				reg = <ADC5_AMUX_THM1_100K_PU>;
				qcom,ratiometric;
				qcom,hw-settle-time = <200>;
			};

			quiet_therm {
				reg = <ADC5_AMUX_THM2_100K_PU>;
				qcom,ratiometric;
				qcom,hw-settle-time = <200>;
			};

			msm_therm {
				reg = <ADC5_AMUX_THM3_100K_PU>;
				qcom,ratiometric;
				qcom,hw-settle-time = <200>;
			};

			skin_therm {
				reg = <ADC5_GPIO3_100K_PU>;
				qcom,ratiometric;
				qcom,hw-settle-time = <200>;
			};

			conn_therm {
				reg = <ADC5_GPIO4_100K_PU>;
				qcom,ratiometric;
				qcom,hw-settle-time = <200>;
			};

			s3_die_temp {
				reg = <ADC5_SBUx>;
			};
		};
	};
};

&qupv3_se4_2uart {
	status = "ok";
};

&qupv3_se3_4uart {
	status = "ok";
};
